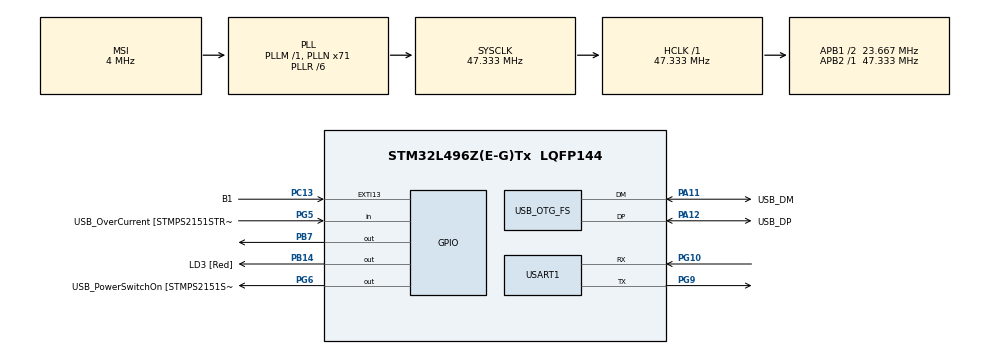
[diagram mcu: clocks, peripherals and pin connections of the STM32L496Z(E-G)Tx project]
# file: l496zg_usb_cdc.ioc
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Mcu.Family=STM32L4
Mcu.Name=STM32L496Z(E-G)Tx
Mcu.Package=LQFP144
NVIC.OTG_FS_IRQn=true\:0\:0\:false\:false\:true\:false\:true\:true
NVIC.PriorityGroup=NVIC_PRIORITYGROUP_4
PA10.GPIO_Label=USB_ID
PA10.Signal=USB_OTG_FS_ID
PA11.GPIO_Label=USB_DM
PA11.Mode=Device_Only
PA11.Signal=USB_OTG_FS_DM
PA12.GPIO_Label=USB_DP
PA12.Mode=Device_Only
PA12.Signal=USB_OTG_FS_DP
PA13\ (JTMS/SWDIO).GPIO_Label=TMS
PA13\ (JTMS/SWDIO).Mode=Trace_Asynchronous_SW
PA13\ (JTMS/SWDIO).Signal=SYS_JTMS-SWDIO
PA14\ (JTCK/SWCLK).GPIO_Label=TCK
PA14\ (JTCK/SWCLK).Mode=Trace_Asynchronous_SW
PA14\ (JTCK/SWCLK).Signal=SYS_JTCK-SWCLK
PA8.GPIO_Label=USB_SOF [TP1]
PA8.Signal=USB_OTG_FS_SOF
PA9.GPIO_Label=USB_VBUS
PA9.Signal=USB_OTG_FS_VBUS
PB14.GPIO_Label=LD3 [Red]
PB14.Signal=GPIO_Output
PB3\ (JTDO/TRACESWO).GPIO_Label=SWO
PB3\ (JTDO/TRACESWO).Mode=Trace_Asynchronous_SW
PB3\ (JTDO/TRACESWO).Signal=SYS_JTDO-SWO
PB7.Signal=GPIO_Output
PC13.GPIO_Label=B1
PC13.Signal=GPXTI13
PC14-OSC32_IN\ (PC14).Mode=LSE-External-Oscillator
PC14-OSC32_IN\ (PC14).Signal=RCC_OSC32_IN
PC15-OSC32_OUT\ (PC15).Mode=LSE-External-Oscillator
PC15-OSC32_OUT\ (PC15).Signal=RCC_OSC32_OUT
PG10.Mode=Asynchronous
PG10.Signal=USART1_RX
PG5.GPIO_Label=USB_OverCurrent [STMPS2151STR_FAULT]
PG5.Signal=GPIO_Input
PG6.GPIO_Label=USB_PowerSwitchOn [STMPS2151STR_EN]
PG6.Signal=GPIO_Output
PG7.GPIO_Label=STLK_RX [STM32F103CBT6_PA3]
PG7.Signal=LPUART1_TX
PG8.GPIO_Label=STLK_TX [STM32F103CBT6_PA2]
PG8.Signal=LPUART1_RX
PG9.Mode=Asynchronous
PG9.Signal=USART1_TX
PH1-OSC_OUT\ (PH1).Signal=RCC_OSC_OUT
ProjectManager.HeapSize=0x200
ProjectManager.StackSize=0x400
ProjectManager.TargetToolchain=STM32CubeIDE
RCC.48MHZClocksFreq_Value=24000000
RCC.ADCFreq_Value=48000000
RCC.AHBFreq_Value=47333333.333333336
RCC.APB1CLKDivider=RCC_HCLK_DIV2
RCC.APB1Freq_Value=23666666.666666668
RCC.APB1TimFreq_Value=47333333.333333336
RCC.APB2Freq_Value=47333333.333333336
RCC.APB2TimFreq_Value=47333333.333333336
RCC.CortexFreq_Value=47333333.333333336
RCC.HCLKFreq_Value=47333333.333333336
RCC.HSE_VALUE=8000000
RCC.HSI48_VALUE=48000000
RCC.HSI_VALUE=16000000
RCC.MSI_VALUE=4000000
RCC.PLLMUL=RCC_PLL_MUL9
RCC.PLLN=71
RCC.PLLR=RCC_PLLR_DIV6
RCC.PLLSAI1N=24
RCC.PRESCALERUSB=RCC_USBCLKSOURCE_PLL_DIV1_5
RCC.SYSCLKFreq_VALUE=47333333.333333336
RCC.SYSCLKSource=RCC_SYSCLKSOURCE_PLLCLK
RCC.SYSCLKSourceVirtual=RCC_SYSCLKSOURCE_PLLCLK
RCC.USBFreq_Value=48000000
RCC.VCOOutputFreq_Value=284000000
USART1.VirtualMode-Asynchronous=VM_ASYNC
USB_DEVICE.APP_RX_DATA_SIZE=128
USB_DEVICE.APP_TX_DATA_SIZE=128
USB_DEVICE.CLASS_NAME_FS=CDC
USB_DEVICE.VirtualMode=Cdc
USB_DEVICE.VirtualModeFS=Cdc_FS
USB_OTG_FS.VirtualMode=Device_Only
VP_USB_DEVICE_VS_USB_DEVICE_CDC_FS.Mode=CDC_FS
board=NUCLEO-L496ZG

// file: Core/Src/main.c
/* USER CODE BEGIN Header */
/**
 ******************************************************************************
 * @file           : main.c
 * @brief          : Main program body
 ******************************************************************************
 * @attention
 *
 * Copyright (c) 2025 STMicroelectronics.
 * All rights reserved.
 *
 * This software is licensed under terms that can be found in the LICENSE file
 * in the root directory of this software component.
 * If no LICENSE file comes with this software, it is provided AS-IS.
 *
 ******************************************************************************
 */
/* USER CODE END Header */
#include "main.h"
#include "usb_device.h"

/* USER CODE BEGIN Includes */
#include "usbd_cdc_if.h"
#include "string.h"
#include <stdio.h>

/* USER CODE END Includes */

UART_HandleTypeDef huart1;

/* USER CODE BEGIN PV */
uint8_t SendingText[] = "Hello world from STM32 by USB CDC Device\r\n";
uint8_t *Buffer = NULL;
uint32_t Buflen = 0;
volatile uint8_t Flag = 0;
char data32[] = "ABCDEFGHIJKLMNOPQRSTUVWXYZ1234\r\n";
char data64[] = "ABCDEFGHIJKLMNOPQRSTUVWXYZ123456ABCDEFGHIJKLMNOPQRSTUVWXYZ1234\r\n";
char data128[] = "ABCDEFGHIJKLMNOPQRSTUVWXYZ123456ABCDEFGHIJKLMNOPQRSTUVWXYZ123456ABCDEFGHIJKLMNOPQRSTUVWXYZ123456ABCDEFGHIJKLMNOPQRSTUVWXYZ1234\r\n";
char data256[] = "ABCDEFGHIJKLMNOPQRSTUVWXYZ123456ABCDEFGHIJKLMNOPQRSTUVWXYZ123456ABCDEFGHIJKLMNOPQRSTUVWXYZ123456ABCDEFGHIJKLMNOPQRSTUVWXYZ123456"
                 "ABCDEFGHIJKLMNOPQRSTUVWXYZ123456ABCDEFGHIJKLMNOPQRSTUVWXYZ123456ABCDEFGHIJKLMNOPQRSTUVWXYZ123456ABCDEFGHIJKLMNOPQRSTUVWXYZ1234\r\n";

/* USER CODE END PV */

void SystemClock_Config(void);
static void MX_GPIO_Init(void);
static void MX_USART1_UART_Init(void);

/* USER CODE BEGIN 0 */
void clean_newline(uint8_t *buf, uint16_t maxlen)
{
  for (int i = 0; i < maxlen; i++)
  {
    if (buf[i] == '\r' || buf[i] == '\n')
    {
      buf[i] == '\0';
      break;
    }
  }
}
/* USER CODE END 0 */

int main(void)
{

  /* MCU Configuration--------------------------------------------------------*/

  /* Reset of all peripherals, Initializes the Flash interface and the Systick. */
  HAL_Init();

  /* Configure the system clock */
  SystemClock_Config();

  /* Initialize all configured peripherals */
  MX_GPIO_Init();
  MX_USB_DEVICE_Init();
  MX_USART1_UART_Init();

  /* Infinite loop */
  /* USER CODE BEGIN WHILE */
  while (1)
  {
	  CDC_Transmit_FS(data256,256);
//	  HAL_GPIO_TogglePin(GPIOB, GPIO_PIN_7);
      HAL_Delay(100);
    /* USER CODE END WHILE */

  }
}

void SystemClock_Config(void)
{
  RCC_OscInitTypeDef RCC_OscInitStruct = {0};
  RCC_ClkInitTypeDef RCC_ClkInitStruct = {0};

  /** Configure the main internal regulator output voltage
  */
  if (HAL_PWREx_ControlVoltageScaling(PWR_REGULATOR_VOLTAGE_SCALE1) != HAL_OK)
  {
    Error_Handler();
  }

  /** Configure LSE Drive Capability
  */
  HAL_PWR_EnableBkUpAccess();
  __HAL_RCC_LSEDRIVE_CONFIG(RCC_LSEDRIVE_LOW);

  /** Initializes the RCC Oscillators according to the specified parameters
  * in the RCC_OscInitTypeDef structure.
  */
  RCC_OscInitStruct.OscillatorType = RCC_OSCILLATORTYPE_LSE|RCC_OSCILLATORTYPE_MSI;
  RCC_OscInitStruct.LSEState = RCC_LSE_ON;
  RCC_OscInitStruct.MSIState = RCC_MSI_ON;
  RCC_OscInitStruct.MSICalibrationValue = 0;
  RCC_OscInitStruct.MSIClockRange = RCC_MSIRANGE_6;
  RCC_OscInitStruct.PLL.PLLState = RCC_PLL_ON;
  RCC_OscInitStruct.PLL.PLLSource = RCC_PLLSOURCE_MSI;
  RCC_OscInitStruct.PLL.PLLM = 1;
  RCC_OscInitStruct.PLL.PLLN = 71;
  RCC_OscInitStruct.PLL.PLLP = RCC_PLLP_DIV2;
  RCC_OscInitStruct.PLL.PLLQ = RCC_PLLQ_DIV2;
  RCC_OscInitStruct.PLL.PLLR = RCC_PLLR_DIV6;
  if (HAL_RCC_OscConfig(&RCC_OscInitStruct) != HAL_OK)
  {
    Error_Handler();
  }

  /** Initializes the CPU, AHB and APB buses clocks
  */
  RCC_ClkInitStruct.ClockType = RCC_CLOCKTYPE_HCLK|RCC_CLOCKTYPE_SYSCLK
                              |RCC_CLOCKTYPE_PCLK1|RCC_CLOCKTYPE_PCLK2;
  RCC_ClkInitStruct.SYSCLKSource = RCC_SYSCLKSOURCE_PLLCLK;
  RCC_ClkInitStruct.AHBCLKDivider = RCC_SYSCLK_DIV1;
  RCC_ClkInitStruct.APB1CLKDivider = RCC_HCLK_DIV2;
  RCC_ClkInitStruct.APB2CLKDivider = RCC_HCLK_DIV1;

  if (HAL_RCC_ClockConfig(&RCC_ClkInitStruct, FLASH_LATENCY_2) != HAL_OK)
  {
    Error_Handler();
  }

  /** Enable MSI Auto calibration
  */
  HAL_RCCEx_EnableMSIPLLMode();
}

static void MX_USART1_UART_Init(void)
{

  huart1.Instance = USART1;
  huart1.Init.BaudRate = 115200;
  huart1.Init.WordLength = UART_WORDLENGTH_8B;
  huart1.Init.StopBits = UART_STOPBITS_1;
  huart1.Init.Parity = UART_PARITY_NONE;
  huart1.Init.Mode = UART_MODE_TX_RX;
  huart1.Init.HwFlowCtl = UART_HWCONTROL_NONE;
  huart1.Init.OverSampling = UART_OVERSAMPLING_16;
  huart1.Init.OneBitSampling = UART_ONE_BIT_SAMPLE_DISABLE;
  huart1.AdvancedInit.AdvFeatureInit = UART_ADVFEATURE_NO_INIT;
  if (HAL_UART_Init(&huart1) != HAL_OK)
  {
    Error_Handler();
  }

}

static void MX_GPIO_Init(void)
{
  GPIO_InitTypeDef GPIO_InitStruct = {0};

  /* GPIO Ports Clock Enable */
  __HAL_RCC_GPIOC_CLK_ENABLE();
  __HAL_RCC_GPIOH_CLK_ENABLE();
  __HAL_RCC_GPIOB_CLK_ENABLE();
  __HAL_RCC_GPIOG_CLK_ENABLE();
  HAL_PWREx_EnableVddIO2();
  __HAL_RCC_GPIOA_CLK_ENABLE();

  /*Configure GPIO pin Output Level */
  HAL_GPIO_WritePin(GPIOB, LD3_Pin|GPIO_PIN_7, GPIO_PIN_RESET);

  /*Configure GPIO pin Output Level */
  HAL_GPIO_WritePin(USB_PowerSwitchOn_GPIO_Port, USB_PowerSwitchOn_Pin, GPIO_PIN_RESET);

  /*Configure GPIO pin : B1_Pin */
  GPIO_InitStruct.Pin = B1_Pin;
  GPIO_InitStruct.Mode = GPIO_MODE_IT_RISING;
  GPIO_InitStruct.Pull = GPIO_NOPULL;
  HAL_GPIO_Init(B1_GPIO_Port, &GPIO_InitStruct);

  /*Configure GPIO pins : LD3_Pin PB7 */
  GPIO_InitStruct.Pin = LD3_Pin|GPIO_PIN_7;
  GPIO_InitStruct.Mode = GPIO_MODE_OUTPUT_PP;
  GPIO_InitStruct.Pull = GPIO_NOPULL;
  GPIO_InitStruct.Speed = GPIO_SPEED_FREQ_LOW;
  HAL_GPIO_Init(GPIOB, &GPIO_InitStruct);

  /*Configure GPIO pin : USB_OverCurrent_Pin */
  GPIO_InitStruct.Pin = USB_OverCurrent_Pin;
  GPIO_InitStruct.Mode = GPIO_MODE_INPUT;
  GPIO_InitStruct.Pull = GPIO_NOPULL;
  HAL_GPIO_Init(USB_OverCurrent_GPIO_Port, &GPIO_InitStruct);

  /*Configure GPIO pin : USB_PowerSwitchOn_Pin */
  GPIO_InitStruct.Pin = USB_PowerSwitchOn_Pin;
  GPIO_InitStruct.Mode = GPIO_MODE_OUTPUT_PP;
  GPIO_InitStruct.Pull = GPIO_NOPULL;
  GPIO_InitStruct.Speed = GPIO_SPEED_FREQ_LOW;
  HAL_GPIO_Init(USB_PowerSwitchOn_GPIO_Port, &GPIO_InitStruct);

  /*Configure GPIO pins : STLK_RX_Pin STLK_TX_Pin */
  GPIO_InitStruct.Pin = STLK_RX_Pin|STLK_TX_Pin;
  GPIO_InitStruct.Mode = GPIO_MODE_AF_PP;
  GPIO_InitStruct.Pull = GPIO_NOPULL;
  GPIO_InitStruct.Speed = GPIO_SPEED_FREQ_VERY_HIGH;
  GPIO_InitStruct.Alternate = GPIO_AF8_LPUART1;
  HAL_GPIO_Init(GPIOG, &GPIO_InitStruct);

}

void Error_Handler(void)
{
  __disable_irq();
  while (1)
  {
  }
}
